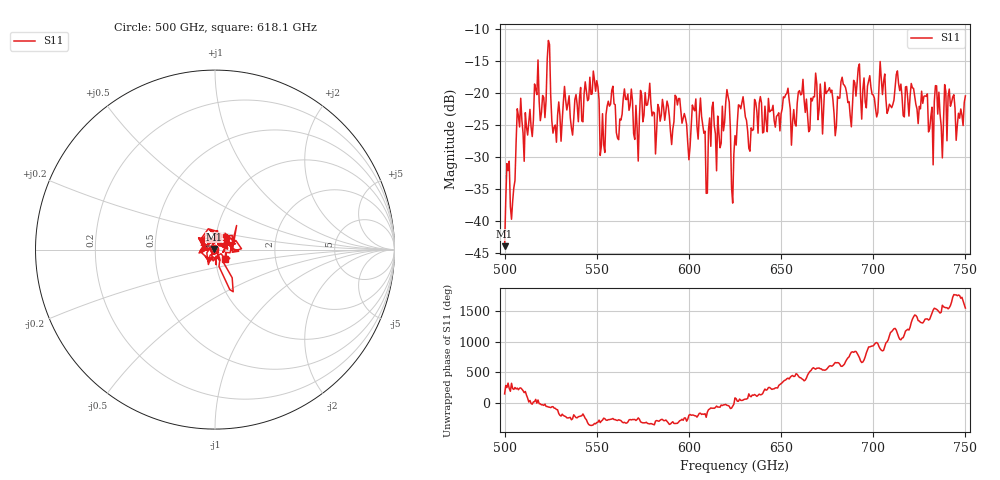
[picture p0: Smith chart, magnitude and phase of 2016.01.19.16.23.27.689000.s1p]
!Created with skrf (http://scikit-rf.org).
# GHz S RI R 50.0
!freq ReS11 ImS11
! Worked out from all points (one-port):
!   401 points, 500 GHz to 750 GHz, reference 50 ohm
!   lowest |S11| = -43.9 dB at 500 GHz (marker M1), VSWR 1.01, Z = 49.5 + j0.331 ohm
!   |S11| at or under -10 dB: start of sweep to end of sweep
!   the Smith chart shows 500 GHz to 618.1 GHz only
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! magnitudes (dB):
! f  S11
! 500 GHz  -43.9
! 501.9 GHz  -32.1
! 504.4 GHz  -36.9
! 508.1 GHz  -25.3
! 520.6 GHz  -20.4
! 523.8 GHz  -11.8
! 526.9 GHz  -25.4
! 531.2 GHz  -24.3
! 549.4 GHz  -19.8
! 553.1 GHz  -23.3
! 557.5 GHz  -21.8
! 562.5 GHz  -24.1
! 593.8 GHz  -21.9
! 606.9 GHz  -23.7
! 609.4 GHz  -35.7
! 620.6 GHz  -19.5
! 625 GHz  -26.7
! 628.1 GHz  -22.5
! 633.1 GHz  -29.1
! 652.5 GHz  -20.3
! 656.2 GHz  -24.5
! 660.6 GHz  -20.3
! 687.5 GHz  -23.6
! 691.2 GHz  -18.5
! 718.8 GHz  -21.0
! 731.2 GHz  -23.7
! 734.4 GHz  -18.9
! 750 GHz  -20.5
